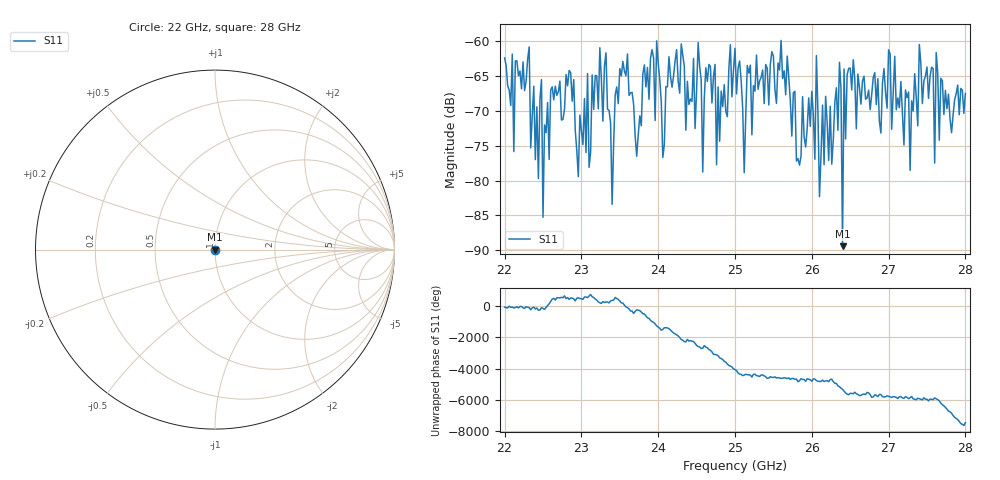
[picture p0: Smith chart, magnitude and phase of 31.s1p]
#  HZ  S  RI  R  50.00
! Rohde & Schwarz ZVA40 4Ports - Version 3.90 - 1145.1110k42 SN: 100403
! Date: 2023-10-04 09:26:28
! Measurement: S12
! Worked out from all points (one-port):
!   301 points, 22 GHz to 28 GHz, reference 50 ohm
!   lowest |S11| = -89.4 dB at 26.4 GHz (marker M1), VSWR 1.00, Z = 50 + j0.00309 ohm
!   |S11| at or under -10 dB: start of sweep to end of sweep
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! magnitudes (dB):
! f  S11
! 22 GHz  -62.5
! 22.32 GHz  -60.9
! 22.44 GHz  -79.7
! 22.76 GHz  -71.3
! 22.96 GHz  -79.4
! 23.08 GHz  -64.7
! 23.1 GHz  -78.1
! 23.32 GHz  -61.7
! 23.4 GHz  -83.4
! 23.5 GHz  -64.0
! 24.26 GHz  -65.8
! 24.52 GHz  -60.3
! 24.58 GHz  -78.8
! 24.74 GHz  -63.4
! 24.76 GHz  -77.7
! 25 GHz  -61.1
! 25.12 GHz  -78.9
! 25.16 GHz  -63.5
! 25.76 GHz  -67.4
! 26.04 GHz  -77.0
! 26.06 GHz  -62.1
! 26.1 GHz  -82.3
! 26.36 GHz  -63.1
! 26.4 GHz  -89.4
! 26.42 GHz  -64.0
! 26.5 GHz  -63.9
! 27.26 GHz  -67.3
! 28 GHz  -67.5
